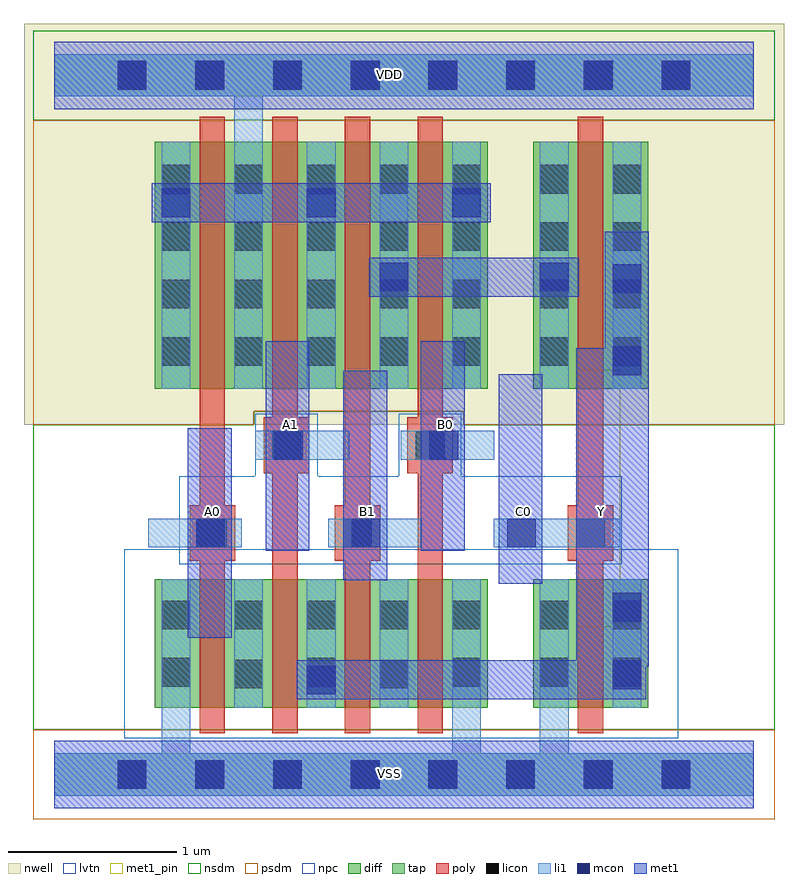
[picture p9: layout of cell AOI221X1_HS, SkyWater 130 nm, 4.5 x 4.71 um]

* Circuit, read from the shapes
.subckt AOI221X1_HS A0 A1 B0 B1 C0 VDD VSS Y
XM1 n1 A0 VSS VSS sky130_fd_pr__nfet_01v8_lvt w=0.76 l=0.15
XM2 Y A1 n1 VSS sky130_fd_pr__nfet_01v8_lvt w=0.76 l=0.15
XM3 n2 B1 Y VSS sky130_fd_pr__nfet_01v8_lvt w=0.76 l=0.15
XM4 VSS B0 n2 VSS sky130_fd_pr__nfet_01v8_lvt w=0.76 l=0.15
XM5 Y C0 VSS VSS sky130_fd_pr__nfet_01v8_lvt w=0.76 l=0.15
XM6 VDD A0 n3 VDD sky130_fd_pr__pfet_01v8 w=1.46 l=0.15
XM7 n3 A1 VDD VDD sky130_fd_pr__pfet_01v8 w=1.46 l=0.15
XM8 n4 B1 n3 VDD sky130_fd_pr__pfet_01v8 w=1.46 l=0.15
XM9 n3 B0 n4 VDD sky130_fd_pr__pfet_01v8 w=1.46 l=0.15
XM10 Y C0 n4 VDD sky130_fd_pr__pfet_01v8 w=1.46 l=0.15
.ends

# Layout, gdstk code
from math import pi, radians
import gdstk
lib = gdstk.Library(unit=1e-6, precision=1e-09)
def R(c, l, rs):  # rectangles x0, y0, x1, y1
    for r in rs: c.add(gdstk.rectangle(r[:2], r[2:], *l))
def A(c, l, x, y, w, h, nx, ny, dx, dy):  # array of equal rectangles
    R(c, l, [(x+i*dx, y+j*dy, x+i*dx+w, y+j*dy+h) for i in range(nx) for j in range(ny)])
def P(c, l, *ps):  # polygons
    for p in ps: c.add(gdstk.Polygon(p, *l))
nwell = (64, 20)
diff = (65, 20)
tap = (65, 44)
poly = (66, 20)
licon = (66, 44)
li1 = (67, 20)
mcon = (67, 44)
met1_pin = (68, 16)
met1 = (68, 20)
nsdm = (93, 44)
psdm = (94, 20)
npc = (95, 20)
lvtn = (125, 44)

l1m1_c_cdns_752016586812 = lib.new_cell('L1M1_C_CDNS_752016586812')
R(l1m1_c_cdns_752016586812, li1, [(-0.085,-0.165,0.085,0.165)])
R(l1m1_c_cdns_752016586812, mcon, [(-0.085,-0.085,0.085,0.085)])
R(l1m1_c_cdns_752016586812, met1, [(-0.115,-0.145,0.115,0.145)])

l1m1_c_cdns_752016586811 = lib.new_cell('L1M1_C_CDNS_752016586811')
R(l1m1_c_cdns_752016586811, li1, [(-0.165,-0.085,0.165,0.085)])
R(l1m1_c_cdns_752016586811, mcon, [(-0.085,-0.085,0.085,0.085)])
R(l1m1_c_cdns_752016586811, met1, [(-0.115,-0.145,0.115,0.145)])

pyl1con_c_cdns_752016586 = lib.new_cell('PYL1CON_C_CDNS_752016586813')
R(pyl1con_c_cdns_752016586, poly, [(-0.135,-0.165,0.135,0.165)])
R(pyl1con_c_cdns_752016586, licon, [(-0.085,-0.085,0.085,0.085)])
R(pyl1con_c_cdns_752016586, npc, [(-0.185,-0.185,0.185,0.185)])

aoi221x1_hs = lib.new_cell('AOI221X1_HS')
R(aoi221x1_hs, nwell, [(-0.18,2.07,4.32,4.445)])
R(aoi221x1_hs, diff, [(0.595,0.395,2.565,1.155), (2.835,0.395,3.515,1.155), (0.595,2.285,2.565,3.745), (2.835,2.285,3.515,3.745)])
A(aoi221x1_hs, poly, 0.86, 0.245, 0.15, 3.65, 4, 1, 0.43, 0)
R(aoi221x1_hs, poly, [(3.1,0.245,3.25,3.895)])
A(aoi221x1_hs, licon, 0.375, -0.085, 0.17, 0.17, 8, 2, 0.46, 4.14)
A(aoi221x1_hs, licon, 0.635, 0.52, 0.17, 0.17, 3, 1, 0.86, 0)
A(aoi221x1_hs, licon, 0.635, 0.86, 0.17, 0.17, 5, 2, 0.43, 1.56)
A(aoi221x1_hs, licon, 2.875, 2.42, 0.17, 0.17, 1, 4, 0, 0.34)
A(aoi221x1_hs, licon, 3.305, 2.42, 0.17, 0.17, 1, 4, 0, 0.34)
A(aoi221x1_hs, licon, 0.635, 2.76, 0.17, 0.17, 5, 3, 0.43, 0.34)
R(aoi221x1_hs, licon, [(1.065,0.51,1.235,0.68), (1.925,0.51,2.095,0.68), (2.875,0.52,3.045,0.69), (3.305,0.52,3.475,0.69), (2.875,0.86,3.045,1.03), (3.305,0.86,3.475,1.03)])
A(aoi221x1_hs, li1, 1.495, 2.285, 0.17, 1.46, 3, 1, 0.43, 0)
R(aoi221x1_hs, li1, [(1.495,0.395,1.665,1.155), (3.305,0.395,3.475,1.155), (0.635,2.285,0.805,3.745), (2.875,2.285,3.045,3.745), (3.305,2.285,3.475,3.745)])
P(aoi221x1_hs, li1, [(4.14,4.265),(0,4.265),(0,4.015),(1.065,4.015),(1.065,2.285),(1.235,2.285),(1.235,4.015),(4.14,4.015)],
  [(4.14,0.125),(3.045,0.125),(3.045,1.155),(2.875,1.155),(2.875,0.125),(2.525,0.125),(2.525,1.155),(2.355,1.155),(2.355,0.125),(0.805,0.125),(0.805,1.155),(0.635,1.155),(0.635,0.125),(0,0.125),(0,-0.125),(4.14,-0.125)])
A(aoi221x1_hs, mcon, 0.375, -0.085, 0.17, 0.17, 8, 2, 0.46, 4.14)
R(aoi221x1_hs, met1_pin, [(0.79,0.81,1.05,2.05), (3.09,0.875,3.35,2.395), (2.63,1.13,2.89,2.37), (1.71,1.15,1.97,2.39), (1.25,1.325,1.51,2.565), (2.17,1.325,2.43,2.565)])
P(aoi221x1_hs, met1, [(3.52,3.215),(3.26,3.215),(3.26,2.525),(3.09,2.525),(3.09,0.675),(1.435,0.675),(1.435,0.445),(3.505,0.445),(3.505,0.64),(3.52,0.64)])
R(aoi221x1_hs, nsdm, [(-0.125,3.875,4.265,4.405)])
P(aoi221x1_hs, nsdm, [(4.265,2.07),(2.425,2.07),(2.425,2.15),(1.18,2.15),(1.18,2.07),(-0.125,2.07),(-0.125,0.265),(4.265,0.265)])
R(aoi221x1_hs, psdm, [(-0.125,-0.265,4.265,0.265)])
P(aoi221x1_hs, psdm, [(4.265,3.875),(-0.125,3.875),(-0.125,2.07),(1.18,2.07),(1.18,2.15),(2.425,2.15),(2.425,2.07),(4.265,2.07)])
R(aoi221x1_hs, npc, [(0.74,1.245,3.36,1.765)])
R(aoi221x1_hs, lvtn, [(0.415,0.215,3.695,1.335)])
aoi221x1_hs.add(gdstk.FlexPath([(2.605,1.95),(2.05,1.95)], 0.17, ends="flush", simple_path=True, layer=67, datatype=20))  # li1
aoi221x1_hs.add(gdstk.FlexPath([(2.795,1.43),(3.35,1.43)], 0.17, ends="flush", simple_path=True, layer=67, datatype=20))  # li1
aoi221x1_hs.add(gdstk.FlexPath([(0.555,1.43),(1.11,1.43)], 0.17, ends="flush", simple_path=True, layer=67, datatype=20))  # li1
aoi221x1_hs.add(gdstk.FlexPath([(2.01,1.155),(2.01,0.395)], 0.17, ends="flush", simple_path=True, layer=67, datatype=20))  # li1
aoi221x1_hs.add(gdstk.FlexPath([(1.15,1.155),(1.15,0.395)], 0.17, ends="flush", simple_path=True, layer=67, datatype=20))  # li1
aoi221x1_hs.add(gdstk.FlexPath([(2.175,1.43),(1.62,1.43)], 0.17, ends="flush", simple_path=True, layer=67, datatype=20))  # li1
aoi221x1_hs.add(gdstk.FlexPath([(1.745,1.95),(1.19,1.95)], 0.17, ends="flush", simple_path=True, layer=67, datatype=20))  # li1
aoi221x1_hs.add(gdstk.FlexPath([(0,4.14),(4.14,4.14)], 0.25, ends="flush", simple_path=True, layer=65, datatype=44))  # tap
aoi221x1_hs.add(gdstk.FlexPath([(0,0),(4.14,0)], 0.25, ends="flush", simple_path=True, layer=65, datatype=44))  # tap
aoi221x1_hs.add(gdstk.FlexPath([(0,4.14),(4.14,4.14)], 0.4, ends="flush", simple_path=True, layer=68, datatype=20))  # met1
aoi221x1_hs.add(gdstk.FlexPath([(0,0),(4.14,0)], 0.4, ends="flush", simple_path=True, layer=68, datatype=20))  # met1
aoi221x1_hs.add(gdstk.FlexPath([(2.76,1.13),(2.76,2.37)], 0.26, ends="flush", simple_path=True, layer=68, datatype=20))  # met1
aoi221x1_hs.add(gdstk.FlexPath([(1.38,1.325),(1.38,2.565)], 0.26, ends="flush", simple_path=True, layer=68, datatype=20))  # met1
aoi221x1_hs.add(gdstk.FlexPath([(2.3,1.325),(2.3,2.565)], 0.26, ends="flush", simple_path=True, layer=68, datatype=20))  # met1
aoi221x1_hs.add(gdstk.FlexPath([(1.865,2.945),(3.105,2.945)], 0.23, ends="flush", simple_path=True, layer=68, datatype=20))  # met1
aoi221x1_hs.add(gdstk.FlexPath([(0.575,3.385),(2.585,3.385)], 0.23, ends="flush", simple_path=True, layer=68, datatype=20))  # met1
aoi221x1_hs.add(gdstk.FlexPath([(1.84,1.15),(1.84,2.39)], 0.26, ends="flush", simple_path=True, layer=68, datatype=20))  # met1
aoi221x1_hs.add(gdstk.FlexPath([(0.92,0.81),(0.92,2.05)], 0.26, ends="flush", simple_path=True, layer=68, datatype=20))  # met1
aoi221x1_hs.add(gdstk.FlexPath([(0,4.14),(4.14,4.14)], 0.4, ends="flush", simple_path=True, layer=68, datatype=16))  # met1_pin
aoi221x1_hs.add(gdstk.FlexPath([(0,0),(4.14,0)], 0.4, ends="flush", simple_path=True, layer=68, datatype=16))  # met1_pin
aoi221x1_hs.add(gdstk.Reference(l1m1_c_cdns_752016586812, (3.39,2.935)))
aoi221x1_hs.add(gdstk.Reference(l1m1_c_cdns_752016586812, (3.39,0.99)))
aoi221x1_hs.add(gdstk.Reference(l1m1_c_cdns_752016586812, (3.39,0.59)))
aoi221x1_hs.add(gdstk.Reference(l1m1_c_cdns_752016586812, (3.39,2.45)))
aoi221x1_hs.add(gdstk.Reference(l1m1_c_cdns_752016586811, (2.765,1.43), x_reflection=True))
aoi221x1_hs.add(gdstk.Reference(l1m1_c_cdns_752016586811, (2.305,1.95), x_reflection=True))
aoi221x1_hs.add(gdstk.Reference(l1m1_c_cdns_752016586811, (1.845,1.43), x_reflection=True))
aoi221x1_hs.add(gdstk.Reference(l1m1_c_cdns_752016586811, (1.385,1.95), x_reflection=True))
aoi221x1_hs.add(gdstk.Reference(l1m1_c_cdns_752016586811, (1.58,0.56), rotation=pi/2))
aoi221x1_hs.add(gdstk.Reference(l1m1_c_cdns_752016586811, (2.01,2.945), rotation=pi/2))
aoi221x1_hs.add(gdstk.Reference(l1m1_c_cdns_752016586811, (2.44,3.385), rotation=pi/2))
aoi221x1_hs.add(gdstk.Reference(l1m1_c_cdns_752016586811, (1.58,3.385), rotation=pi/2))
aoi221x1_hs.add(gdstk.Reference(l1m1_c_cdns_752016586811, (0.72,3.385), rotation=pi/2))
aoi221x1_hs.add(gdstk.Reference(l1m1_c_cdns_752016586811, (2.96,2.945), rotation=pi/2))
aoi221x1_hs.add(gdstk.Reference(l1m1_c_cdns_752016586811, (0.925,1.43), x_reflection=True))
aoi221x1_hs.add(gdstk.Reference(pyl1con_c_cdns_752016586, (2.225,1.95)))
aoi221x1_hs.add(gdstk.Reference(pyl1con_c_cdns_752016586, (1.375,1.95)))
aoi221x1_hs.add(gdstk.Reference(pyl1con_c_cdns_752016586, (1.795,1.43)))
aoi221x1_hs.add(gdstk.Reference(pyl1con_c_cdns_752016586, (0.935,1.43)))
aoi221x1_hs.add(gdstk.Reference(pyl1con_c_cdns_752016586, (3.175,1.43)))
aoi221x1_hs.add(gdstk.Label('VSS', (1.985,0.005), layer=68, texttype=5))
aoi221x1_hs.add(gdstk.Label('VDD', (1.985,4.145), layer=68, texttype=5))
aoi221x1_hs.add(gdstk.Label('B0', (2.315,2.075), layer=68, texttype=5))
aoi221x1_hs.add(gdstk.Label('C0', (2.775,1.555), layer=68, texttype=5))
aoi221x1_hs.add(gdstk.Label('B1', (1.855,1.555), layer=68, texttype=5))
aoi221x1_hs.add(gdstk.Label('Y', (3.24,1.555), layer=68, texttype=5))
aoi221x1_hs.add(gdstk.Label('A0', (0.935,1.555), layer=68, texttype=5))
aoi221x1_hs.add(gdstk.Label('A1', (1.395,2.075), layer=68, texttype=5))

lib.write_gds('AOI221X1_HS.gds')
